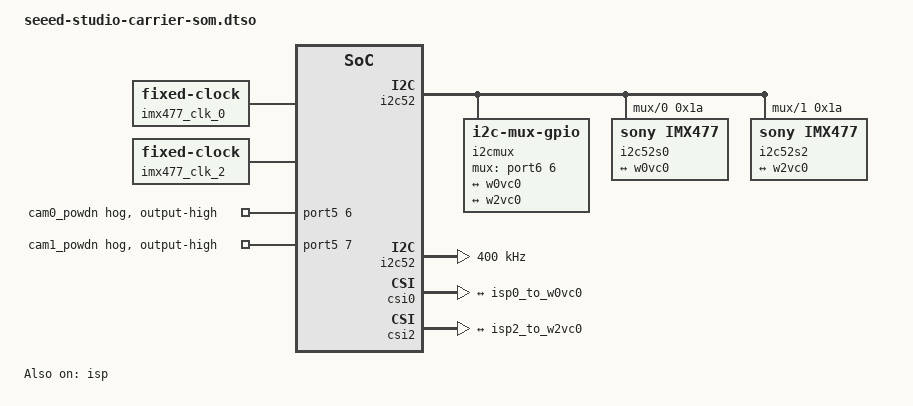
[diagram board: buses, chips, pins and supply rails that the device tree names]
// SPDX-License-Identifier: (GPL-2.0+ OR MIT)
/*
 * Copyright (c) 2025 SiMa ai
 */

/dts-v1/;
/plugin/;

&port5 {
    cam-hog0 {
        gpio-hog;
        /* Set port5 gpio6 to GPIO_ACTIVE_HIGH mode */
        gpios = <6 0>;
        output-high;
        line-name = "cam0_powdn";
    };
    cam-hog1 {
        gpio-hog;
        /* Set port5 gpio7 to GPIO_ACTIVE_HIGH mode */
        gpios = <7 0>;
        output-high;
        line-name = "cam1_powdn";
    };
};

&i2c52 {
    status = "okay";
    clock-frequency = <400000>;
    #address-cells = <1>;
    #size-cells = <0>;
};

/ {
    fragment@20 {
        target-path = "/"; /* Root node of the base tree */
        __overlay__ {
            imx477_clk_0: csi0_camera-clk {
                compatible = "fixed-clock";
                #clock-cells = <0>;
                clock-frequency = <24000000>;
            };
            imx477_clk_2: csi2_camera-clk {
                compatible = "fixed-clock";
                #clock-cells = <0>;
                clock-frequency = <24000000>;
            };
        i2cmux {
              compatible = "i2c-mux-gpio";
              i2c-parent = <&i2c52>;
              #address-cells = <1>;
              #size-cells = <0>;
              /* Set port6 gpio6 to GPIO_ACTIVE_LOW mode */
              mux-gpios = <&port6 6 0>;
        i2c@0 {
            reg = <0>;
            #address-cells = <1>;
            #size-cells = <0>;

            i2c52s0: sensor@1a {
                compatible = "sony,imx477";
                reg = <0x1a>;
                clocks = <&imx477_clk_0>;
                clock-names = "xclk";

                i2c52p0: port@1 {
                    camera_0: endpoint@0 {
                        remote-endpoint = <&w0vc0>;
                        data-lanes = <1 2>;
                        clock-lanes = <0>;
                        clock-continuous;
                        link-frequencies = /bits/ 64 <450000000>;
                    };
                };
            };
        };
        i2c@1 {
            reg = <1>;
            #address-cells = <1>;
            #size-cells = <0>;

            i2c52s2: sensor@1a {
                compatible = "sony,imx477";
                reg = <0x1a>;
                clocks = <&imx477_clk_2>;
                clock-names = "xclk";

                i2c52p2: port@1 {
                    camera_2: endpoint@0 {
                        remote-endpoint = <&w2vc0>;
                        data-lanes = <1 2>;
                        clock-lanes = <0>;
                        clock-continuous;
                        link-frequencies = /bits/ 64 <450000000>;
                     };
                  };
               };
            };
         };
      };
   };
};

&axi_vdma_vis0 { status = "okay"; };
&axi_vdma_vis2 { status = "okay"; };

&csi0 {
        status = "okay";
        isp-connected = <1>;
        csi0p0: port@1 {
                reg = <1>;
                w0vc0_to_isp0: endpoint@1 {
                        remote-endpoint = <&isp0_to_w0vc0>;
                        data-lanes = <1 2>;
                        clock-lanes = <1>;
                        clock-continuous;
                        link-frequencies = /bits/ 64 <450000000>;
                };
        };
};
&csi2 {
    status = "okay";
    isp-connected = <1>;
        csi2p0: port@1 {
            reg = <1>;
                w2vc0_to_isp2: endpoint@1 {
                    remote-endpoint = <&isp2_to_w2vc0>;
                    data-lanes = <1 2>;
                    clock-lanes = <1>;
                    clock-continuous;
                    link-frequencies = /bits/ 64 <450000000>;
                               };
                };
};

&isp {
        status = "okay";
        ports {
                #address-cells = <1>;
                #size-cells = <0>;
                isp0p0: port@0 {
                        reg = <0>;
                        isp0_to_w0vc0: endpoint@0 {
                                remote-endpoint = <&w0vc0_to_isp0>;
                        };
                        w0vc0: endpoint@1 {
							remote-endpoint = <&camera_0>;
							sensor-id = <1>;
                        };
                };
                isp2p0: port@2 {
                    reg = <2>;
                        isp2_to_w2vc0: endpoint@0 {
                            remote-endpoint = <&w2vc0_to_isp2>;
                        };
                        w2vc0: endpoint@1 {
                            remote-endpoint = <&camera_2>;
							sensor-id = <1>;
						};
				};
        };
};
